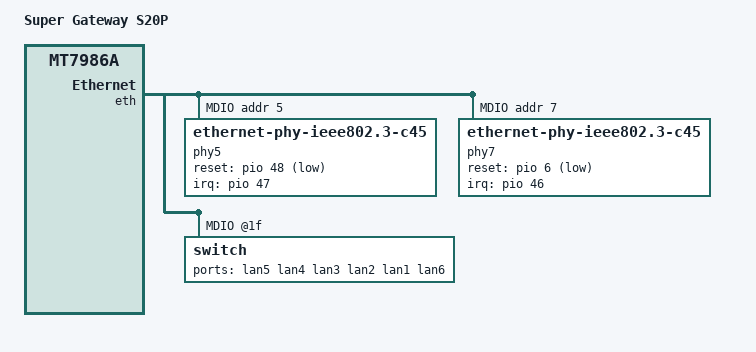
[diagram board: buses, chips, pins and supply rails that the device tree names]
// SPDX-License-Identifier: GPL-2.0-or-later OR MIT

/dts-v1/;
#include "mt7986a-supergateway-s20-common.dtsi"

/ {
	model = "Super Gateway S20P";
	compatible = "supergateway,s20p", "mediatek,mt7986a";

	aliases {
		label-mac-device = &gmac1;
	};
};

&eth {
	gmac1: mac@1 {
		compatible = "mediatek,eth-mac";
		reg = <1>;
		nvmem-cells = <&macaddr_factory_24 0>;
		nvmem-cell-names = "mac-address";
		phy-mode = "2500base-x";
		phy-handle = <&phy7>;
	};

	mdio: mdio-bus {
		phy5: ethernet-phy@5 {
			compatible = "ethernet-phy-ieee802.3-c45";
			reg = <5>;
			reset-assert-us = <100000>;
			reset-deassert-us = <100000>;
			reset-gpios = <&pio 48 GPIO_ACTIVE_LOW>;
			interrupt-parent = <&pio>;
			interrupts = <47 IRQ_TYPE_LEVEL_LOW>;
			realtek,aldps-enable;
			realtek,led-link-select = <0xa7 0x03 0x0>; /* led0 at 10/100/1000/2.5G/(2.5G lite), led1 at 10/100 */
			realtek,led-act-select = <0x001b>;
			/* realtek,led-polarity-select = <0x0018>; */
		};

		phy7: ethernet-phy@7 {
			compatible = "ethernet-phy-ieee802.3-c45";
			reg = <7>;
			reset-assert-us = <100000>;
			reset-deassert-us = <100000>;
			reset-gpios = <&pio 6 GPIO_ACTIVE_LOW>;
			interrupt-parent = <&pio>;
			interrupts = <46 IRQ_TYPE_LEVEL_LOW>;
			realtek,aldps-enable;
			realtek,led-link-select = <0xa7 0x03 0x0>; /* led0 at 10/100/1000/2.5G/(2.5G lite), led1 at 10/100 */
			realtek,led-act-select = <0x001b>;
			/* realtek,led-polarity-select = <0x0018>; */
		};

		switch: switch@1f {
			ports {
				port@0 {
					label = "lan5";
				};

				port@1 {
					label = "lan4";
				};

				port@2 {
					label = "lan3";
				};

				port@3 {
					label = "lan2";
				};

				port@4 {
					label = "lan1";
				};

				port@5 {
					reg = <5>;
					label = "lan6";
					phy-mode = "2500base-x";
					phy-handle = <&phy5>;
				};
			};
		};
	};
};
